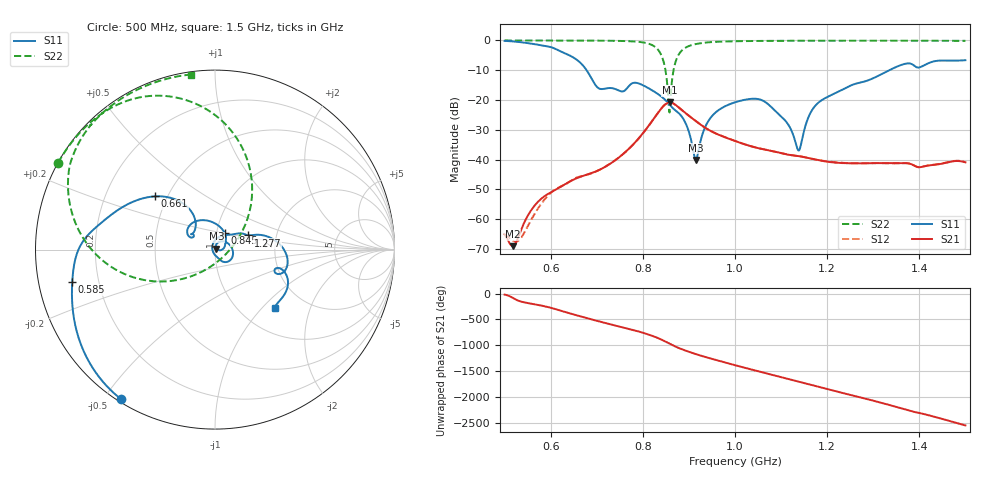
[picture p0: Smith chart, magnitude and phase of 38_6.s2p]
! TOUCHSTONE file generated by CST MICROWAVE STUDIO
! Date and time: Sat Oct 24 11:50:02 2020
! Project name: Scenario_1_Circular_Tissue_out_of_Line.cst
! Parameters = {dy1=295.617; L_HA=400; MT=2.54; Rad_Dielectric=30; Rad_Lower=7.3; Rad_Upper=30; a_HA=580; a_WG=246; b_HA=500; b_WG=121; c_HA=0; c_WG=187; d_feed=85; dx1=1039; h_feed=15; h_lower=18; h_upper=40}
! Header version: 2018
! Port assignment regex: !\s*Touchstone port\s*([0-9]+)\s*=\s*(CST MWS port|CST DS port)\s*([0-9]+|Zmin|Zmax)\s*\(\"(.*)\"\)(\s*mode\s*([0-9]+))?.*
! Touchstone port assignment:
! Touchstone port 1 = CST MWS port 1 ("")
! Touchstone port 2 = CST MWS port 2 ("")
# GHz S DB R 50
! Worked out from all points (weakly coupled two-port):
!   1001 points, 500 MHz to 1.5 GHz, reference 50 ohm
!   highest |S21| = -20.82 dB at 859 MHz (marker M1); lowest = -69.0 dB at 518 MHz (marker M2)
!   lowest |S11| = -40.1 dB at 915 MHz (marker M3), VSWR 1.02, Z = 50.8 + j0.555 ohm
!   |S11| at or under -10 dB: 677.9 MHz to 1.335 GHz (656.7 MHz wide, 65.3 % of centre)
!   |S22| runs from -24.2 to 0.0 dB; largest |S21 - S12| = 0.00053
!   S11 on the Smith chart (normalised r, x): 500 MHz: 0.01, -0.55; 585 MHz: 0.10, -0.11; 661 MHz: 0.43, +0.32; 845 MHz: 1.09, +0.20; 1.277 GHz: 1.43, +0.23; 1.5 GHz: 1.42, -1.18
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0.5  -0.14 -122.2  -65.02 -18.6  -65.02 -18.5  -0.01 151.1
0.518  -0.33 -131.1  -69.01 -83.9  -67.20 -59.3  -0.01 149.9
0.585  -1.77 -167.3  -52.43 118.3  -53.67 120.5  -0.02 145.2
0.661  -7.02 138.3  -45.95 -70.8  -45.75 -72.7  -0.04 138.9
0.667  -7.89 133.1  -45.62 -85.5  -45.51 -86.4  -0.04 138.3
0.707  -16.25 138.4  -43.31 178.2  -43.31 178.2  -0.07 134.0
0.779  -14.26 140.1  -34.88 17.1  -34.96 16.6  -0.33 120.5
0.834  -18.12 73.5  -24.05 -143.7  -24.04 -143.6  -3.32 83.5
0.845  -19.43 59.6  -21.98 171.8  -21.95 171.8  -7.11 62.4
0.859  -21.69 42.4  -20.82 108.0  -20.82 108.1  -22.12 -90.2
0.876  -24.10 25.2  -22.23 36.1  -22.23 36.2  -5.24 -167.1
0.895  -28.54 -2.0  -24.67 -28.7  -24.68 -28.7  -2.22 171.1
0.915  -40.14 33.7  -27.06 -88.7  -27.04 -89.1  -1.22 159.8
0.946  -26.16 61.0  -30.27 -170.8  -30.28 -170.9  -0.58 149.9
1  -20.75 9.4  -33.72 57.2  -33.72 57.2  -0.27 140.2
1.068  -20.91 -50.8  -36.71 -101.0  -36.71 -101.4  -0.15 132.6
1.113  -27.66 -76.8  -38.26 154.6  -38.24 154.4  -0.12 128.5
1.138  -36.95 -166.0  -38.81 97.2  -38.79 97.3  -0.11 126.4
1.167  -23.42 77.8  -39.72 29.4  -39.72 29.4  -0.10 124.1
1.277  -13.94 23.0  -41.21 144.8  -41.22 145.0  -0.08 115.7
1.334  -10.05 12.3  -41.16 11.0  -41.20 10.4  -0.09 111.4
1.5  -6.63 -44.5  -40.89 -26.6  -40.88 -26.6  -0.13 97.8
